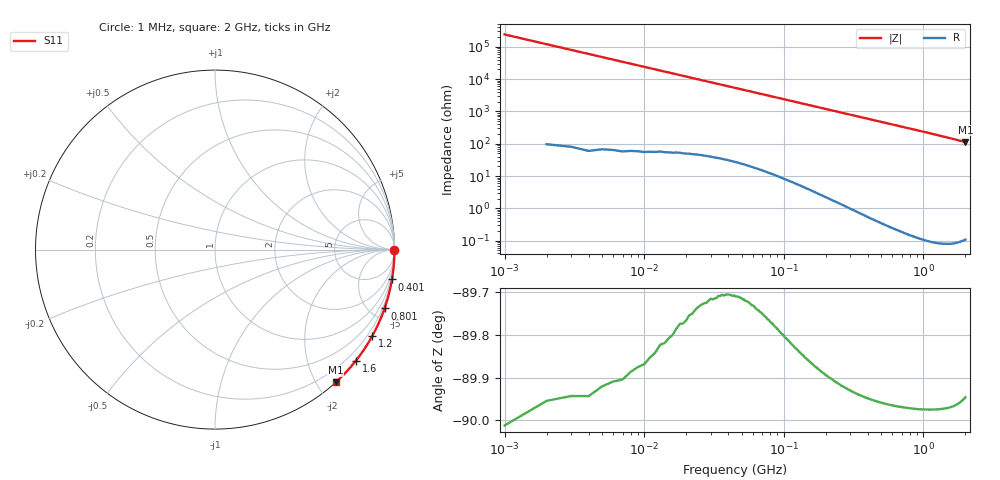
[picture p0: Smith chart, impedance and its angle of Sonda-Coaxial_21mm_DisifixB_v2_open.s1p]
! TOUCHSTONE file generated by CST MICROWAVE STUDIO
! Date and time: Mon Aug  3 18:26:34 2026
! Project name: Sonda-Coaxial_21mm_DisifixB_v2_Agua_Dest.cst
! Parameters = {h_recipiente=20; l_conector=5; r_arandela=35; r_ext=10.5; r_int=3; r_recipiente=50; z_recipiente=-50}
! Header version: 2018
! Port assignment regex: !\s*Touchstone port\s*([0-9]+)\s*=\s*(CST MWS port|CST DS port)\s*([0-9]+|Zmin|Zmax)\s*\(\"(.*)\"\)(\s*mode\s*([0-9]+))?.*
! Touchstone port assignment:
! Touchstone port 1 = CST MWS port 1 ("")
# GHz S RI R 50
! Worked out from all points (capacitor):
!   2000 points, 1 MHz to 2 GHz, reference 50 ohm
!   read as one part to ground: C = 658 fF near 11 MHz
!   lowest |Z| = 113 ohm at 2 GHz (marker M1)
!   S11 on the Smith chart (normalised r, x): 1 MHz: open; 401 MHz: 0, -12; 801 MHz: 0.00, -5.93; 1.2 GHz: 0.00, -3.91; 1.6 GHz: 0.00, -2.89; 2 GHz: 0.00, -2.26
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0.001  1 -0.000413
0.011  1 -0.00454
0.128  0.9984 -0.0533
0.189  0.9967 -0.0787
0.251  0.9944 -0.1044
0.326  0.9906 -0.1355
0.401  0.9859 -0.1664
0.501  0.9781 -0.2074
0.563  0.9724 -0.2326
0.626  0.966 -0.2581
0.688  0.959 -0.2829
0.751  0.9512 -0.308
0.801  0.9446 -0.3278
0.901  0.9301 -0.3669
1.001  0.914 -0.4053
1.1  0.8965 -0.4426
1.2  0.8773 -0.4796
1.251  0.8669 -0.4981
1.313  0.8537 -0.5203
1.375  0.84 -0.5422
1.501  0.8103 -0.5855
1.6  0.7855 -0.6183
1.675  0.7658 -0.6425
1.751  0.745 -0.6664
1.825  0.7241 -0.689
1.9  0.7021 -0.7112
1.99  0.6749 -0.7369
2  0.6718 -0.7397
